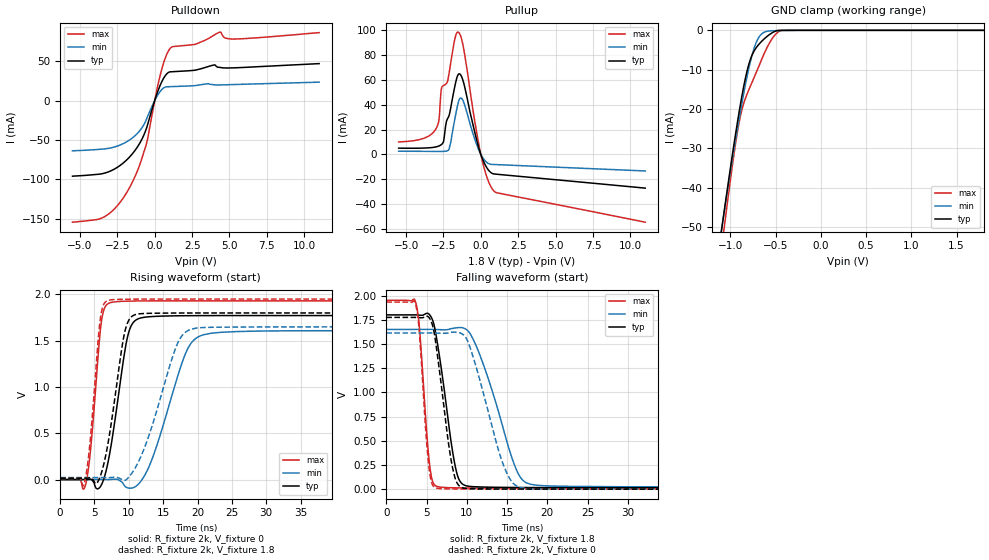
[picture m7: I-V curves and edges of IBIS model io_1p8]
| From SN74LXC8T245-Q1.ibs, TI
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[Model]   io_1p8
Model_type  I/O
Vinl=0.5775
Vinh=1.2675
Enable   Active-Low
Vref =   0
Rref =   2000
Cref =   15p
Vmeas =   0.9
| variable   typ   min   max
C_comp   6.34pF   5.61pF   7.15pF
| C_pullup   10.74pF   6.64pF   16.31pF
| C_pulldown   10.09pF   6.99pF   16.46pF
| C_tri-state   6.34pF   5.61pF   7.15pF
[Temperature Range]   40   100   -40
| Ambient temperature   25   85   -40
[Voltage range]   1.8   1.65   1.95
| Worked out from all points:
|   slope of the pulldown table from 0 to 0.27 V, typ, clamps not added: 18.2 ohm
|   slope of the pullup table from 0 to 0.27 V, typ, clamps not added: 34.2 ohm
|   GND clamp passes 1 mA (typ) near -0.56 V on its own axis
|   rising waveform, R_fixture 2k, V_fixture 0: 20-80 % time 2.1ns typ, 4.01ns min, 1.26ns max; typ from 0 V to 1.77 V
|   falling waveform, R_fixture 2k, V_fixture 1.8: 20-80 % time 1.79ns typ, 3.61ns min, 988ps max; typ from 1.8 V to 0.015 V
|   rising waveform, R_fixture 2k, V_fixture 1.8: 20-80 % time 2.11ns typ, 4.06ns min, 1.25ns max; typ from 0.015 V to 1.8 V
|   falling waveform, R_fixture 2k, V_fixture 0: 20-80 % time 1.65ns typ, 3.18ns min, 935ps max; typ from 1.77 V to 0 V
[GND Clamp]
| LXC8T245_IO_18
|   Voltage   I(typ)   I(min)   I(max)
-5.5V     -897.1mA   -831.9mA   -1.015A
-1.11V    -52.66mA   -52.33mA   -57.72mA
-1.08V    -47.7mA    -47.75mA   -52.14mA
-1.05V    -42.82mA   -43.24mA   -46.67mA
-915mV    -22.23mA   -23.93mA   -24.75mA
-835mV    -12.18mA   -13.81mA   -17.31mA
-785mV    -7.737mA   -8.436mA   -14.47mA
-735mV    -5.102mA   -4.277mA   -11.79mA
-645mV    -2.561mA   -727uA     -6.848mA
-530mV    -501.4uA   -105.7uA   -1.806mA
-430mV    -5.242uA   -35.39uA   -19.91uA
1.8V      23.18pA    30.38nA    510.2pA
[Pulldown]
| LXC8T245_IO_18
|   Voltage   I(typ)   I(min)   I(max)
-5.5V     -95.82mA   -63.67mA   -154.2mA
-3.315V   -91.75mA   -61.14mA   -146.8mA
-1.75V    -72.89mA   -50.79mA   -112.6mA
-1.13V    -58mA      -41.04mA   -87.84mA
-600mV    -37.68mA   -25.69mA   -57.96mA
405mV     21.1mA     12.54mA    35.05mA
770mV     33.15mA    17.47mA    57.09mA
1.105V    36.55mA    17.72mA    67.48mA
2.715V    38.65mA    19.07mA    71.4mA
4.38V     42.01mA    19.88mA    86.86mA
5.235V    41.5mA     20.34mA    78.05mA
11V       46.88mA    23.37mA    86.19mA
[Pullup]
| LXC8T245_IO_18
|   Voltage   I(typ)   I(min)   I(max)
-5.5V     5.088mA    2.627mA    10.09mA
-3.805V   5.165mA    2.515mA    13.04mA
-2.98V    6.16mA     2.455mA    21.15mA
-2.8V     6.846mA    2.441mA    28.18mA
-2.625V   8.108mA    2.443mA    53.57mA
-2.135V   31.01mA    4.02mA     64.57mA
-1.74V    54.87mA    28.55mA    92.96mA
-1.515V   64.43mA    41.57mA    98.64mA
-1.185V   59.29mA    43.25mA    87.57mA
35mV      -1.184mA   -766.3uA   -1.908mA
875mV     -15.72mA   -8.085mA   -29.46mA
11V       -27.14mA   -13.3mA    -54.59mA
[Ramp]
| LXC8T245_IO_18
| variable   typ   min   max
dV/dt_r   1.08/1.1E-09   0.97/1.9E-09   1.159/1.1E-09
dV/dt_f   1.08/1.9E-09   0.99/2E-09   1.17/1.3E-10
R_load = 2k
[Rising Waveform]
| LXC8T245_IO_18
R_fixture =   2k
C_fixture =   0
L_fixture =   0
V_fixture =   0
V_fixture_min = 0
V_fixture_max = 0
|   Time   V(typ)   V(min)   V(max)
0s        267.1pV    9.224nV    2.329nV
3.695ns   -82.43uV   65.71nV    -57.22mV
4.465ns   4.064mV    355.7nV    351.5mV
5.95ns    -65.34mV   -30.39uV   1.675V
7.03ns    209.1mV    -224.7uV   1.903V
9.705ns   1.506V     -86.38mV   1.927V
11.24ns   1.733V     -60.41mV   1.929V
18.23ns   1.77V      1.356V     1.931V
20.03ns   1.771V     1.539V     1.931V
50ns      1.772V     1.61V      1.931V
[Falling Waveform]
| LXC8T245_IO_18
R_fixture =   2k
C_fixture =   0
L_fixture =   0
V_fixture =   1.8
V_fixture_min = 1.65
V_fixture_max = 1.95
|   Time   V(typ)   V(min)   V(max)
0s        1.8V       1.65V      1.95V
3.675ns   1.8V       1.65V      1.922V
4.115ns   1.797V     1.65V      1.669V
5.35ns    1.804V     1.65V      275.4mV
6.2ns     1.582V     1.649V     31.31mV
8.465ns   277.2mV    1.663V     14.23mV
9.7ns     41.09mV    1.66V      12.73mV
16.02ns   17.49mV    227mV      10.6mV
17.4ns    16.87mV    65.62mV    10.44mV
50ns      14.85mV    21.84mV    9.865mV
[Rising Waveform]
| LXC8T245_IO_18
R_fixture =   2k
C_fixture =   0
L_fixture =   0
V_fixture =   1.8
V_fixture_min = 1.65
V_fixture_max = 1.95
|   Time   V(typ)   V(min)   V(max)
0s        14.8mV     21.49mV    9.86mV
3.53ns    14.74mV    21.49mV    -35.27mV
4.34ns    18.83mV    21.49mV    393.9mV
5.795ns   26.31mV    21.47mV    1.706V
6.8ns     322.1mV    21.4mV     1.93V
9.3ns     1.557V     -9.844mV   1.948V
10.73ns   1.776V     101.4mV    1.949V
16.84ns   1.799V     1.427V     1.95V
18.62ns   1.8V       1.61V      1.95V
50ns      1.8V       1.65V      1.95V
[Falling Waveform]
| LXC8T245_IO_18
R_fixture =   2k
C_fixture =   0
L_fixture =   0
V_fixture =   0
V_fixture_min = 0
V_fixture_max = 0
|   Time   V(typ)   V(min)   V(max)
0s        1.774V     1.613V     1.932V
3.64ns    1.774V     1.613V     1.909V
4.08ns    1.771V     1.613V     1.648V
5.25ns    1.778V     1.613V     261mV
6.075ns   1.548V     1.612V     15.29mV
8.09ns    282.1mV    1.62V      2.651mV
9.365ns   16.78mV    1.606V     1.788mV
14.45ns   1.612mV    270mV      731.3uV
16.28ns   1.197mV    28.43mV    562.2uV
50ns      52.81uV    208.2uV    5.463uV
